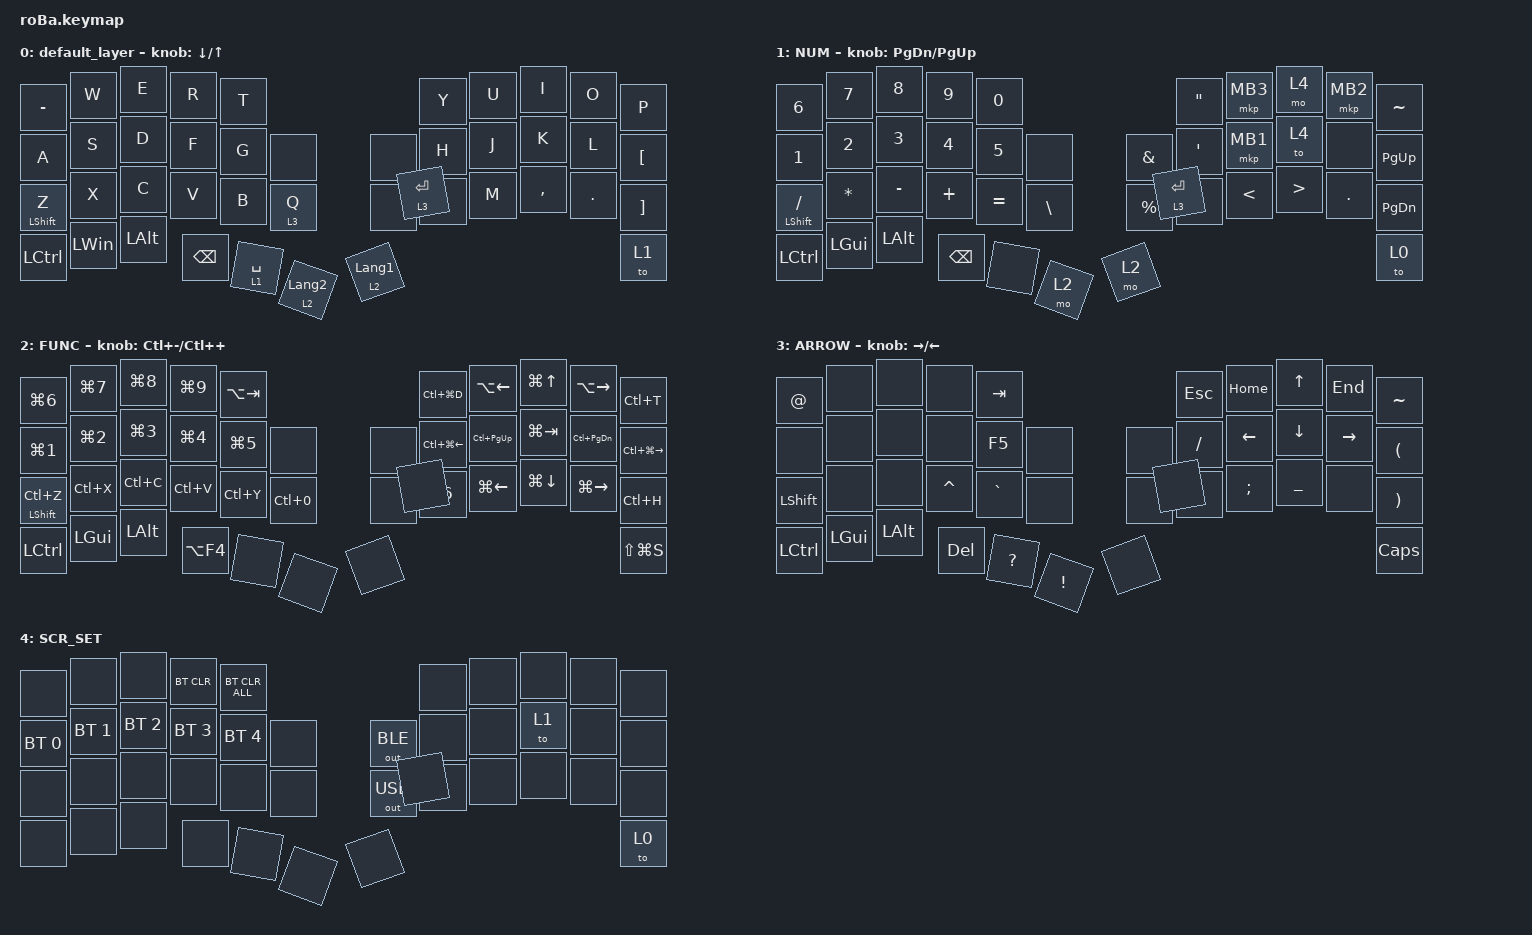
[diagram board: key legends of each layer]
#include <behaviors.dtsi>
#include <dt-bindings/zmk/bt.h>
#include <dt-bindings/zmk/keys.h>
#include <dt-bindings/zmk/outputs.h>
#include <dt-bindings/zmk/pointing.h>

&mt {
    flavor = "balanced";
    quick-tap-ms = <0>;
};

&trackball {
    // automouse-layer = <4>;

    scroll-layers = <4>;

    // arrows {
    //     layers = <3>;
    //     bindings =
    //         <&kp RIGHT_ARROW>,
    //         <&kp LEFT_ARROW>,
    //         <&kp UP_ARROW>,
    //         <&kp DOWN_ARROW>;
    //     tick = <10>;
    //     wait-ms = <5>;
    //     tap-ms = <5>;
    // };
};

/ {
    combos {
        compatible = "zmk,combos";

        tab {
            bindings = <&kp TAB>;
            key-positions = <1 0>;
            layers = <0>;
        };

        bluetooth {
            bindings = <&to 4>;
            key-positions = <4 26>;
            layers = <0>;
        };

        santen {
            bindings = <&z_macro PERIOD>;
            key-positions = <19 18>;
        };

        dash {
            bindings = <&z_macro MINUS>;
            key-positions = <30 31>;
        };

        kagi_s {
            bindings = <&z_macro LEFT_BRACKET>;
            key-positions = <20 21>;
        };

        kagi_e {
            bindings = <&z_macro RIGHT_BRACKET>;
            key-positions = <32 33>;
        };

        layer_to_0 {
            bindings = <&to 0>;
            key-positions = <16 28 37>;
        };

        Ctrl_W {
            bindings = <&kp LC(W)>;
            key-positions = <8 9>;
            layers = <2>;
        };
    };

    macros {
        to_layer_0: to_layer_0 {
            compatible = "zmk,behavior-macro-one-param";
            #binding-cells = <1>;
            bindings = <&to 0 &macro_param_1to1 &kp MACRO_PLACEHOLDER>;
            label = "TO_LAYER_0";
        };

        z_macro: z_macro {
            compatible = "zmk,behavior-macro-one-param";
            #binding-cells = <1>;
            bindings = <&kp Z &macro_param_1to1 &kp MACRO_PLACEHOLDER>;
            label = "Z_MACRO";
        };
    };

    behaviors {
        lt_to_layer_0: lt_to_layer_0 {
            compatible = "zmk,behavior-hold-tap";
            label = "LAYER_TAP_TO_0";
            bindings = <&mo>, <&to_layer_0>;

            #binding-cells = <2>;
            tapping-term-ms = <200>;
        };

        mt2: mt2 {
            compatible = "zmk,behavior-hold-tap";
            label = "MT2";
            bindings = <&kp>, <&kp>;

            #binding-cells = <2>;
            tapping-term-ms = <200>;
            flavor = "balanced";
        };
    };

    keymap {
        compatible = "zmk,keymap";

        default_layer {
            bindings = <
&kp MINUS          &kp W         &kp E         &kp R          &kp T                                                &kp Y        &kp U  &kp I      &kp O    &kp P
&kp A              &kp S         &kp D         &kp F          &kp G        &none                 &none             &kp H        &kp J  &kp K      &kp L    &kp LEFT_BRACKET
&mt2 LEFT_SHIFT Z  &kp X         &kp C         &kp V          &kp B        &lt 3 Q               &none             &kp N        &kp M  &kp COMMA  &kp DOT  &kp RIGHT_BRACKET
&kp LCTRL          &kp LEFT_WIN  &kp LEFT_ALT  &kp BACKSPACE  &lt 1 SPACE  &lt 2 LANGUAGE_2      &lt 2 LANGUAGE_1  &lt 3 ENTER                             &to 1
            >;

            sensor-bindings = <&inc_dec_kp DOWN_ARROW UP_ARROW>;
        };

        NUM {
            bindings = <
&kp NUMBER_6          &kp NUMBER_7  &kp NUMBER_8  &kp NUMBER_9   &kp NUMBER_0                                    &kp DOUBLE_QUOTES  &mkp MB3       &mo 4             &mkp MB2    &kp TILDE
&kp NUMBER_1          &kp NUMBER_2  &kp NUMBER_3  &kp NUMBER_4   &kp NUMBER_5  &none              &kp AMPERSAND  &kp SINGLE_QUOTE   &mkp MB1       &to 4             &none       &kp PAGE_UP
&mt LEFT_SHIFT SLASH  &kp ASTERISK  &kp MINUS     &kp PLUS       &kp EQUAL     &kp BACKSLASH      &kp PERCENT    &kp COLON          &kp LESS_THAN  &kp GREATER_THAN  &kp PERIOD  &kp PAGE_DOWN
&kp LEFT_CONTROL      &kp LEFT_GUI  &kp LEFT_ALT  &kp BACKSPACE  &none         &mo 2              &mo 2          &lt 3 ENTER                                                     &to 0
            >;

            sensor-bindings = <&inc_dec_kp PAGE_DOWN PAGE_UP>;
        };

        FUNC {
            bindings = <
&kp LG(NUMBER_6)      &kp LG(NUMBER_7)  &kp LG(NUMBER_8)  &kp LG(NUMBER_9)  &kp LA(TAB)                                    &kp LC(LG(D))           &kp LA(LEFT_ARROW)  &kp LG(UP_ARROW)    &kp LA(RIGHT_ARROW)  &kp LC(T)
&kp LG(NUMBER_1)      &kp LG(NUMBER_2)  &kp LG(NUMBER_3)  &kp LG(NUMBER_4)  &kp LG(NUMBER_5)  &none                 &none  &kp LC(LG(LEFT_ARROW))  &kp LC(PAGE_UP)     &kp LG(TAB)         &kp LC(PAGE_DOWN)    &kp LC(LG(RIGHT_ARROW))
&mt LEFT_SHIFT LC(Z)  &kp LC(X)         &kp LC(C)         &kp LC(V)         &kp LC(Y)         &kp LC(NUMBER_0)      &none  &kp F6                  &kp LG(LEFT_ARROW)  &kp LG(DOWN_ARROW)  &kp LG(RIGHT_ARROW)  &kp LC(H)
&kp LEFT_CONTROL      &kp LEFT_GUI      &kp LEFT_ALT      &kp LA(F4)        &none             &none                 &none  &none                                                                                &kp LS(LG(S))
            >;

            sensor-bindings = <&inc_dec_kp LC(MINUS) LC(PLUS)>;
        };

        ARROW {
            bindings = <
&kp AT_SIGN       &none         &none         &none       &kp TAB                                   &kp ESCAPE  &kp HOME        &kp UP_ARROW    &kp END          &kp TILDE
&none             &none         &none         &none       &kp F5        &none                &none  &kp SLASH   &kp LEFT_ARROW  &kp DOWN_ARROW  &kp RIGHT_ARROW  &kp LEFT_PARENTHESIS
&kp LEFT_SHIFT    &none         &none         &kp CARET   &kp GRAVE     &none                &none  &kp COLON   &kp SEMICOLON   &kp UNDERSCORE  &none            &kp RIGHT_PARENTHESIS
&kp LEFT_CONTROL  &kp LEFT_GUI  &kp LEFT_ALT  &kp DELETE  &kp QUESTION  &kp EXCLAMATION      &none  &none                                                        &kp CAPSLOCK
            >;

            sensor-bindings = <&inc_dec_kp RIGHT_ARROW LEFT_ARROW>;
        };

        SCR_SET {
            bindings = <
&none         &none         &none         &bt BT_CLR    &bt BT_CLR_ALL                           &none  &none  &none  &none  &none
&bt BT_SEL 0  &bt BT_SEL 1  &bt BT_SEL 2  &bt BT_SEL 3  &bt BT_SEL 4    &none      &out OUT_BLE  &none  &none  &to 1  &none  &none
&none         &none         &none         &none         &none           &none      &out OUT_USB  &none  &none  &none  &none  &none
&none         &none         &none         &none         &none           &none      &none         &none                       &to 0
            >;
        };
    };
};
